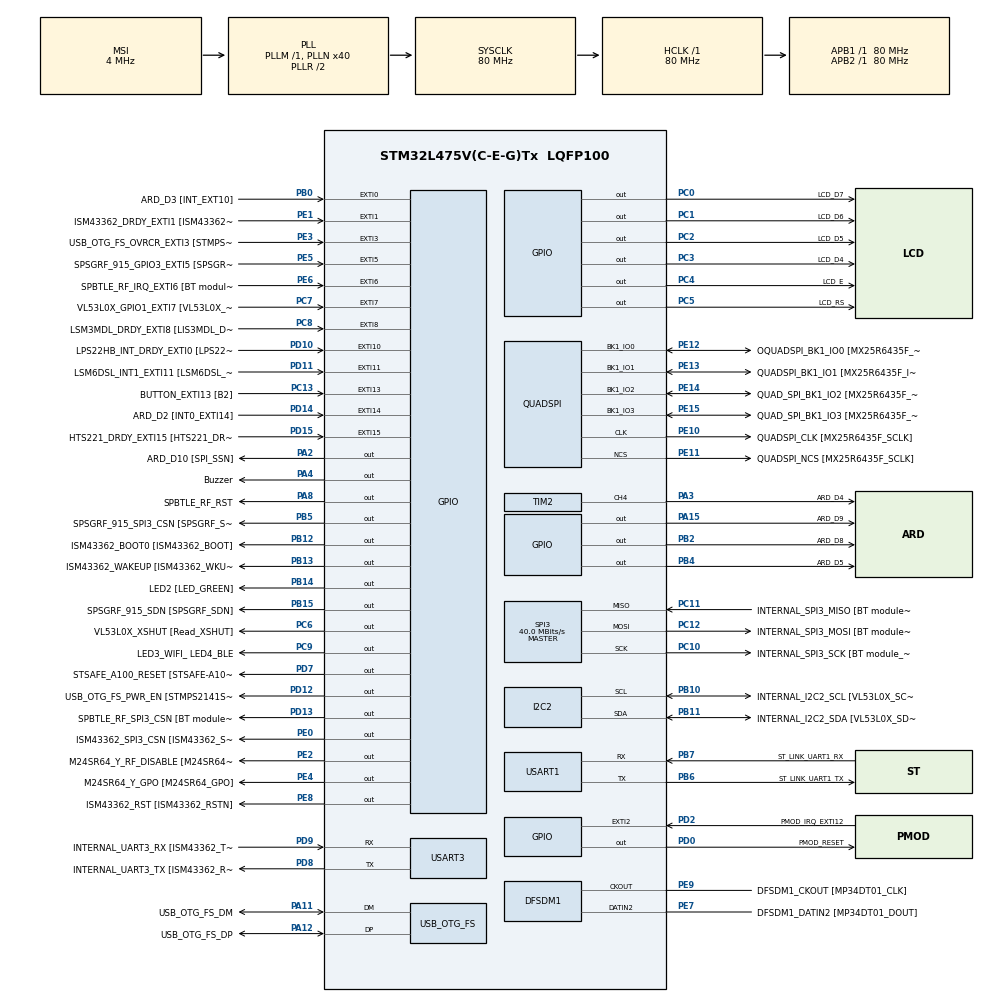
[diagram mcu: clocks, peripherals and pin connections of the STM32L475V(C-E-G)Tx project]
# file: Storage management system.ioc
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PD12.GPIO_Label=USB_OTG_FS_PWR_EN [STMPS2141STR_EN]
SPI3.Direction=SPI_DIRECTION_2LINES
SPI3.VirtualType=VM_MASTER
QUADSPI.ClockPrescaler=2
PB10.Mode=I2C
PC12.Signal=SPI3_MOSI
PB14.GPIO_Label=LED2 [LED_GREEN]
PC6.GPIO_Label=VL53L0X_XSHUT [Read_XSHUT]
PA6.GPIO_Label=ARD_D12 [SPI1_MISO]
PB6.GPIO_Label=ST_LINK_UART1_TX
PA15\ (JTDI).Signal=GPIO_Output
PB13.Signal=GPIO_Output
PD6.GPIO_Label=PMOD_UART2_RX
PE6.GPIO_Label=SPBTLE_RF_IRQ_EXTI6 [BT module_SPI_IRQ]
RCC.SYSCLKSource=RCC_SYSCLKSOURCE_PLLCLK
SH.ADCx_IN16.0=ADC1_IN16
USART3.VirtualMode-Asynchronous=VM_ASYNC
PA14\ (JTCK-SWCLK).Signal=SYS_JTCK-SWCLK
PD4.Signal=USART2_RTS
RCC.APB2TimFreq_Value=80000000
PB6.Signal=USART1_TX
PC7.Signal=GPXTI7
PB6.Mode=Asynchronous
PC3.Signal=GPIO_Output
PD0.Signal=GPIO_Output
PD8.Signal=USART3_TX
PE5.Signal=GPXTI5
PE1.Signal=GPXTI1
QUADSPI.FlashSize=23
NVIC.EXTI15_10_IRQn=true\:5\:0\:false\:false\:true\:true\:true\:true
PB2.Signal=GPIO_Output
PD1.GPIO_Label=PMOD_SPI2_SCK
PB12.GPIO_Label=ISM43362_BOOT0 [ISM43362_BOOT]
PC4.GPIO_Label=LCD_E
PE9.Signal=S_CKOUTDFSDM1
PB1.GPIO_Label=ARD_D6 [ADC1_IN6]
PE4.GPIO_Label=M24SR64_Y_GPO [M24SR64_GPO]
PE2.Signal=GPIO_Output
PA8.Signal=GPIO_Output
PE13.Mode=Single Bank
VP_FREERTOS_VS_CMSIS_V1.Mode=CMSIS_V1
PE10.Signal=QUADSPI_CLK
PA0.Signal=UART4_TX
Mcu.Package=LQFP100
PB9.Signal=I2C1_SDA
PB1.Signal=ADCx_IN16
NVIC.TimeBase=TIM1_TRG_COM_TIM17_IRQn
SPI3.Mode=SPI_MODE_MASTER
PD12.Signal=GPIO_Output
NVIC.TimeBaseIP=TIM17
PA10.Signal=USB_OTG_FS_ID
PE12.GPIO_Label=OQUADSPI_BK1_IO0 [MX25R6435F_IO0]
PC11.Mode=Full_Duplex_Master
RCC.APB1TimFreq_Value=80000000
PA13\ (JTMS-SWDIO).Signal=SYS_JTMS-SWDIO
PE10.GPIO_Label=QUADSPI_CLK [MX25R6435F_SCLK]
PH0-OSC_IN\ (PH0).Mode=HSE-External-Oscillator
PA4.GPIO_Label=Buzzer
PD15.Signal=GPXTI15
PE12.Mode=Single Bank
FREERTOS.Tasks01=Temp_monitor,0,128,StartTemp_monitor,Default,NULL,Dynamic,NULL,NULL;Hum_monitor,0,128,StartHum_monitor,Default,NULL,Dynamic,NULL,NULL;LCD_temp,-2,128,StartLCD_temp,Default,NULL,Dynamic,NULL,NULL;LCD_hum,-2,128,StartLCD_hum,Default,NULL,Dynamic,NULL,NULL;Servo_manager,2,128,StartServo_manager,Default,NULL,Dynamic,NULL,NULL;ProblemDetector,2,128,StartProblemDetector,Default,NULL,Dynamic,NULL,NULL;Buzzer_manager,1,128,StartBuzzer_manager,Default,NULL,Dynamic,NULL,NULL;LCD_TempProblem,0,128,StartLCD_TempProblem,Default,NULL,Dynamic,NULL,NULL;LCD_HumProblem,0,128,StartLCD_HumProblem,Default,NULL,Dynamic,NULL,NULL;LED_manager,1,128,StartLED_manager,Default,NULL,Dynamic,NULL,NULL;Button_manager,2,128,StartButton_manager,Default,NULL,Dynamic,NULL,NULL;LCD_TotAllarm,0,128,StartLCD_TotAllarm,Default,NULL,Dynamic,NULL,NULL;Buzzer_sound,1,128,StartBuzzer_sound,Default,NULL,Dynamic,NULL,NULL
PD9.GPIO_Label=INTERNAL_UART3_RX [ISM43362_TX]
VP_SYS_VS_tim17.Mode=TIM17
PA9.GPIO_Label=USB_OTG_FS_VBUS [STMPS2141STR_OUT]
PC13.Signal=GPXTI13
FREERTOS.INCLUDE_vTaskDelayUntil=0
PD3.Signal=USART2_CTS
PC6.Signal=GPIO_Output
PE10.Mode=Single Bank
PC2.Signal=GPIO_Output
PB11.GPIO_Label=INTERNAL_I2C2_SDA [VL53L0X_SDA]
PD7.Signal=GPIO_Output
PD1.Signal=SPI2_SCK
PA11.GPIO_Label=USB_OTG_FS_DM
PC0.Signal=GPIO_Output
PD10.Signal=GPXTI10
PB8.GPIO_Label=ARD_D15 [I2C1_SCL]
PA8.GPIO_Label=SPBTLE_RF_RST
PB11.Mode=I2C
PE8.GPIO_Label=ISM43362_RST [ISM43362_RSTN]
PA9.Signal=USB_OTG_FS_VBUS
PE9.GPIO_Label=DFSDM1_CKOUT [MP34DT01_CLK]
PD8.Mode=Asynchronous
PB10.Signal=I2C2_SCL
PB14.Signal=GPIO_Output
PA5.Signal=SPI1_SCK
PC12.Mode=Full_Duplex_Master
PE1.GPIO_Label=ISM43362_DRDY_EXTI1 [ISM43362_DATARDY]
PE14.Signal=QUADSPI_BK1_IO2
PE15.Signal=QUADSPI_BK1_IO3
PB15.GPIO_Label=SPSGRF_915_SDN [SPSGRF_SDN]
PE8.Signal=GPIO_Output
PA1.GPIO_Label=ARD_D0 [UART4_RX]
QUADSPI.FifoThreshold=4
PC7.GPIO_Label=VL53L0X_GPIO1_EXTI7 [VL53L0X_GPIO1]
PA13\ (JTMS-SWDIO).Mode=Serial_Wire
PA4.Signal=GPIO_Output
PB5.Signal=GPIO_Output
PE13.GPIO_Label=QUADSPI_BK1_IO1 [MX25R6435F_IO1]
FREERTOS.configUSE_COUNTING_SEMAPHORES=0
PA5.GPIO_Label=ARD_D13 [SPI1_SCK]
PD11.Signal=GPXTI11
PE5.GPIO_Label=SPSGRF_915_GPIO3_EXTI5 [SPSGRF_GPIO_3]
PC12.GPIO_Label=INTERNAL_SPI3_MOSI [BT module_SPI_MOSI] [ISM43362_MOSI]
PA11.Signal=USB_OTG_FS_DM
ProjectManager.HeapSize=0x200
FREERTOS.Timers01=myTimerLed1,CallbackLed1,osTimerPeriodic,Default,NULL,Dynamic,NULL;myTimerLed2,CallbackLed2,osTimerPeriodic,Default,NULL,Dynamic,NULL
FREERTOS.Mutexes01=myMutex_temp,Dynamic,NULL;myMutex_hum,Dynamic,NULL;myMutex_LCD,Dynamic,NULL;myMutexEmergency,Dynamic,NULL
NVIC.PriorityGroup=NVIC_PRIORITYGROUP_4
PE3.Signal=GPXTI3
PC3.GPIO_Label=LCD_D4
PB4\ (NJTRST).GPIO_Label=ARD_D5
PD2.Signal=GPXTI2
PB0.Signal=GPXTI0
PC1.Signal=GPIO_Output
PD2.GPIO_Label=PMOD_IRQ_EXTI12
PE15.Mode=Single Bank
Mcu.Family=STM32L4
RCC.CortexFreq_Value=80000000
PH0-OSC_IN\ (PH0).Signal=RCC_OSC_IN
PE11.GPIO_Label=QUADSPI_NCS [MX25R6435F_SCLK]
PC10.Signal=SPI3_SCK
PA0.GPIO_Label=ARD_D1 [UART4_TX]
PC0.GPIO_Label=LCD_D7
PD0.GPIO_Label=PMOD_RESET
PA11.Mode=Device_Only
PB0.GPIO_Label=ARD_D3 [INT_EXT10]
PC13.GPIO_Label=BUTTON_EXTI13 [B2]
PB13.GPIO_Label=ISM43362_WAKEUP [ISM43362_WKUP]
PB11.Signal=I2C2_SDA
PB15.Signal=GPIO_Output
PD9.Mode=Asynchronous
ProjectManager.StackSize=0x400
PB3\ (JTDO-TRACESWO).Signal=SYS_JTDO-SWO
PD13.Signal=GPIO_Output
PA12.Signal=USB_OTG_FS_DP
PE11.Mode=Single Bank
PD11.GPIO_Label=LSM6DSL_INT1_EXTI11 [LSM6DSL_INT1]
RCC.HCLKFreq_Value=80000000
PB5.PinState=GPIO_PIN_SET
RCC.AHBFreq_Value=80000000
PH1-OSC_OUT\ (PH1).Mode=HSE-External-Oscillator
RCC.HSE_VALUE=8000000
FREERTOS.configUSE_TIMERS=1
NVIC.TIM1_TRG_COM_TIM17_IRQn=true\:0\:0\:false\:false\:true\:false\:false\:true
PE13.Signal=QUADSPI_BK1_IO1
PC11.GPIO_Label=INTERNAL_SPI3_MISO [BT module_SPI_MISO] [ISM43362_MISO]
PA10.GPIO_Label=USB_OTG_FS_ID
PB7.Signal=USART1_RX
PE4.Signal=GPIO_Output
QUADSPI.SampleShifting=QSPI_SAMPLE_SHIFTING_HALFCYCLE
FREERTOS.configTOTAL_HEAP_SIZE=9000
PD7.GPIO_Label=STSAFE_A100_RESET [STSAFE-A100_RESET]
PB7.GPIO_Label=ST_LINK_UART1_RX
PD13.GPIO_Label=SPBTLE_RF_SPI3_CSN [BT module_SPI_CS]
PA6.Signal=SPI1_MISO
PD5.GPIO_Label=PMOD_UART2_TX
PA2.GPIO_Label=ARD_D10 [SPI_SSN]
USB_OTG_FS.VirtualMode=Device_Only
PE0.GPIO_Label=ISM43362_SPI3_CSN [ISM43362_SSN]
PB5.GPIO_Label=SPSGRF_915_SPI3_CSN [SPSGRF_SPI_CS]
PC5.Signal=GPIO_Output
PD3.GPIO_Label=PMOD_UART2_CTS
PE7.Signal=S_DATAIN2DFSDM1
PD6.Signal=USART2_RX
PE2.GPIO_Label=M24SR64_Y_RF_DISABLE [M24SR64_RFDIS]
PC2.GPIO_Label=LCD_D5
RCC.PLLSAI1N=24
PA3.Signal=S_TIM2_CH4
RCC.MSI_VALUE=4000000
PA14\ (JTCK-SWCLK).Mode=Serial_Wire
TIM2.Channel-PWM\ Generation4\ CH4=TIM_CHANNEL_4
PD15.GPIO_Label=HTS221_DRDY_EXTI15 [HTS221_DRDY]
PB9.GPIO_Label=ARD_D14 [I2C1_SDA]
PC10.GPIO_Label=INTERNAL_SPI3_SCK [BT module_SPI_SCLK] [ISM43362_SCK]
PC9.GPIO_Label=LED3_WIFI_ LED4_BLE
PC11.Signal=SPI3_MISO
PC8.Signal=GPXTI8
PC4.Signal=GPIO_Output
PC10.Mode=Full_Duplex_Master
SH.S_DATAIN2DFSDM1.0=DFSDM1_DATIN2,PDM_SPI_Input_from_ch12_and_Internal_Clock
PE14.GPIO_Label=QUAD_SPI_BK1_IO2 [MX25R6435F_IO2]
PC15-OSC32_OUT\ (PC15).Signal=RCC_OSC32_OUT
PD9.Signal=USART3_RX
PD5.Signal=USART2_TX
PA14\ (JTCK-SWCLK).GPIO_Label=SYS_JTCK_SWCLK
PB3\ (JTDO-TRACESWO).GPIO_Label=SYS_JTD0_SWO
PA12.GPIO_Label=USB_OTG_FS_DP
PH1-OSC_OUT\ (PH1).Signal=RCC_OSC_OUT
PD8.GPIO_Label=INTERNAL_UART3_TX [ISM43362_RX]
PC8.GPIO_Label=LSM3MDL_DRDY_EXTI8 [LIS3MDL_DRDY]
USART1.VirtualMode-Asynchronous=VM_ASYNC
PE0.PinState=GPIO_PIN_SET
PE15.GPIO_Label=QUAD_SPI_BK1_IO3 [MX25R6435F_IO3]
ProjectManager.TargetToolchain=STM32CubeIDE
PB10.GPIO_Label=INTERNAL_I2C2_SCL [VL53L0X_SCL]
RCC.USBFreq_Value=48000000
PD10.GPIO_Label=LPS22HB_INT_DRDY_EXTI0 [LPS22HB_INT_DRDY] 
PE11.Signal=QUADSPI_NCS
RCC.LSE_VALUE=32768
PA1.Signal=UART4_RX
board=B-L475E-IOT01A2
RCC.VCOOutputFreq_Value=160000000
RCC.APB2Freq_Value=80000000
SPI3.CalculateBaudRate=40.0 MBits/s
PA13\ (JTMS-SWDIO).GPIO_Label=SYS_JTMS_SWDIO
PD4.GPIO_Label=PMOD_UART2_RTS
PE14.Mode=Single Bank
SH.S_CKOUTDFSDM1.0=DFSDM1_CKOUT,CKOUT
SH.S_CKOUTDFSDM1.1=DFSDM1_CKOUT,PDM_SPI_Input_from_ch12_and_Internal_Clock
RCC.ADCFreq_Value=48000000
PC1.GPIO_Label=LCD_D6
PD14.GPIO_Label=ARD_D2 [INT0_EXTI14]
PE6.Signal=GPXTI6
PA15\ (JTDI).GPIO_Label=ARD_D9
Mcu.Name=STM32L475V(C-E-G)Tx
PE0.Signal=GPIO_Output
PE7.GPIO_Label=DFSDM1_DATIN2 [MP34DT01_DOUT]
PE12.Signal=QUADSPI_BK1_IO0
PA2.Signal=GPIO_Output
PD14.Signal=GPXTI14
RCC.SYSCLKFreq_VALUE=80000000
PA7.GPIO_Label=ARD_D11 [SPI1_MOSI]
PA12.Mode=Device_Only
PC13.GPIO_ModeDefaultEXTI=GPIO_MODE_IT_FALLING
PC5.GPIO_Label=LCD_RS
PC14-OSC32_IN\ (PC14).Signal=RCC_OSC32_IN
PB7.Mode=Asynchronous
NVIC.EXTI9_5_IRQn=true\:5\:0\:false\:false\:true\:true\:true\:true
PB2.GPIO_Label=ARD_D8
SH.S_TIM2_CH4.0=TIM2_CH4,PWM Generation4 CH4
RCC.HSI_VALUE=16000000
RCC.PLLN=40
PB8.Signal=I2C1_SCL
PE3.GPIO_Label=USB_OTG_FS_OVRCR_EXTI3 [STMPS2141STR_FAULT]
PC9.Signal=GPIO_Output
PD13.PinState=GPIO_PIN_SET
RCC.APB1Freq_Value=80000000
PB12.Signal=GPIO_Output
PA3.GPIO_Label=ARD_D4
PA7.Signal=SPI1_MOSI
PB4\ (NJTRST).Signal=GPIO_Output

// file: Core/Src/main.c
/* USER CODE BEGIN Header */
/**
 ******************************************************************************
 * @file           : main.c
 * @brief          : Main program body
 ******************************************************************************
 * @attention
 *
 * <h2><center>&copy; Copyright (c) 2021 STMicroelectronics.
 * All rights reserved.</center></h2>
 *
 * This software component is licensed by ST under BSD 3-Clause license,
 * the "License"; You may not use this file except in compliance with the
 * License. You may obtain a copy of the License at:
 *                        opensource.org/licenses/BSD-3-Clause
 *
 ******************************************************************************
 */
/* USER CODE END Header */
#include "main.h"
#include "cmsis_os.h"

/* USER CODE BEGIN Includes */
#include "stm32l475e_iot01.h"
#include "stm32l475e_iot01_tsensor.h"
#include "stm32l475e_iot01_hsensor.h"
#include "LiquidCrystal.h"
#include <stdio.h>
#include <stdbool.h>
#include <math.h>

/* USER CODE END Includes */

/* USER CODE BEGIN PD */

//Possible values: NORMAL_MODE or DEMO_MODE to perform cyclically all the emergencies
#define NORMAL_MODE

//Codes for the different types of alarm
#define ALL_TOT 6
#define ALL_TEMP 7
#define ALL_HUM 8
#define NO_ALL 9

//Hight tresh to start emergencies and low to stop in hysteresis fashion to avoid
// multiple bouncing in the moment where the emergency stop
#define HUM_HIGH_TRESH 75
#define HUM_LOW_TRESH 73
#define TEMP_HIGH_TRESH 30
#define TEMP_LOW_TRESH 29

/* USER CODE END PD */

DFSDM_Channel_HandleTypeDef hdfsdm1_channel1;

I2C_HandleTypeDef hi2c2;

QSPI_HandleTypeDef hqspi;

SPI_HandleTypeDef hspi3;

TIM_HandleTypeDef htim2;

UART_HandleTypeDef huart1;
UART_HandleTypeDef huart3;

PCD_HandleTypeDef hpcd_USB_OTG_FS;

osThreadId Temp_monitorHandle;
osThreadId Hum_monitorHandle;
osThreadId LCD_tempHandle;
osThreadId LCD_humHandle;
osThreadId Servo_managerHandle;
osThreadId ProblemDetectorHandle;
osThreadId Buzzer_managerHandle;
osThreadId LCD_TempProblemHandle;
osThreadId LCD_HumProblemHandle;
osThreadId LED_managerHandle;
osThreadId Button_managerHandle;
osThreadId LCD_TotAllarmHandle;
osThreadId Buzzer_soundHandle;
osTimerId myTimerLed1Handle;
osTimerId myTimerLed2Handle;
osMutexId myMutex_tempHandle;
osMutexId myMutex_humHandle;
osMutexId myMutex_LCDHandle;
osMutexId myMutexEmergencyHandle;
/* USER CODE BEGIN PV */
float temp_value = 0; // global variable to store temperature value
float hum_value = 0; // global variable to store humidity value
int emergency_code = NO_ALL; // code that determines the emergency
bool stop_allarmi = false;

/* USER CODE END PV */

void SystemClock_Config(void);
static void MX_GPIO_Init(void);
static void MX_DFSDM1_Init(void);
static void MX_I2C2_Init(void);
static void MX_QUADSPI_Init(void);
static void MX_SPI3_Init(void);
static void MX_USART1_UART_Init(void);
static void MX_USART3_UART_Init(void);
static void MX_USB_OTG_FS_PCD_Init(void);
static void MX_TIM2_Init(void);
void StartTemp_monitor(void const * argument);
void StartHum_monitor(void const * argument);
void StartLCD_temp(void const * argument);
void StartLCD_hum(void const * argument);
void StartServo_manager(void const * argument);
void StartProblemDetector(void const * argument);
void StartBuzzer_manager(void const * argument);
void StartLCD_TempProblem(void const * argument);
void StartLCD_HumProblem(void const * argument);
void StartLED_manager(void const * argument);
void StartButton_manager(void const * argument);
void StartLCD_TotAllarm(void const * argument);
void StartBuzzer_sound(void const * argument);
void CallbackLed1(void const * argument);
void CallbackLed2(void const * argument);

int main(void)
{

  /* MCU Configuration--------------------------------------------------------*/

  /* Reset of all peripherals, Initializes the Flash interface and the Systick. */
  HAL_Init();

  /* Configure the system clock */
  SystemClock_Config();

  /* Initialize all configured peripherals */
  MX_GPIO_Init();
  MX_DFSDM1_Init();
  MX_I2C2_Init();
  MX_QUADSPI_Init();
  MX_SPI3_Init();
  MX_USART1_UART_Init();
  MX_USART3_UART_Init();
  MX_USB_OTG_FS_PCD_Init();
  MX_TIM2_Init();
  /* USER CODE BEGIN 2 */

  	//Initialization
	HAL_TIM_PWM_Start(&htim2, TIM_CHANNEL_4); //Timer for Servo PWN
	BSP_TSENSOR_Init(); //Temperature sensor initialization
	BSP_HSENSOR_Init(); //Temperature sensor initialization
	LiquidCrystal(GPIOC, LCD_RS_Pin, LCD_E_Pin, LCD_E_Pin, LCD_D4_Pin, LCD_D5_Pin, LCD_D6_Pin, LCD_D7_Pin); //Initialize the LCD specifying its pins

	//Write a loading phrase on the LCD
	clear();
	setCursor(0, 0);
	print("INIZIALIZZAZIONE");
	setCursor(0, 1);
	print("IN CORSO...");

  /* USER CODE END 2 */

  /* Create the mutex(es) */
  /* definition and creation of myMutex_temp */
  osMutexDef(myMutex_temp);
  myMutex_tempHandle = osMutexCreate(osMutex(myMutex_temp));

  /* definition and creation of myMutex_hum */
  osMutexDef(myMutex_hum);
  myMutex_humHandle = osMutexCreate(osMutex(myMutex_hum));

  /* definition and creation of myMutex_LCD */
  osMutexDef(myMutex_LCD);
  myMutex_LCDHandle = osMutexCreate(osMutex(myMutex_LCD));

  /* definition and creation of myMutexEmergency */
  osMutexDef(myMutexEmergency);
  myMutexEmergencyHandle = osMutexCreate(osMutex(myMutexEmergency));

  /* Create the timer(s) */
  /* definition and creation of myTimerLed1 */
  osTimerDef(myTimerLed1, CallbackLed1);
  myTimerLed1Handle = osTimerCreate(osTimer(myTimerLed1), osTimerPeriodic, NULL);

  /* definition and creation of myTimerLed2 */
  osTimerDef(myTimerLed2, CallbackLed2);
  myTimerLed2Handle = osTimerCreate(osTimer(myTimerLed2), osTimerPeriodic, NULL);

  /* Create the thread(s) */
  /* definition and creation of Temp_monitor */
  osThreadDef(Temp_monitor, StartTemp_monitor, osPriorityNormal, 0, 128);
  Temp_monitorHandle = osThreadCreate(osThread(Temp_monitor), NULL);

  /* definition and creation of Hum_monitor */
  osThreadDef(Hum_monitor, StartHum_monitor, osPriorityNormal, 0, 128);
  Hum_monitorHandle = osThreadCreate(osThread(Hum_monitor), NULL);

  /* definition and creation of LCD_temp */
  osThreadDef(LCD_temp, StartLCD_temp, osPriorityLow, 0, 128);
  LCD_tempHandle = osThreadCreate(osThread(LCD_temp), NULL);

  /* definition and creation of LCD_hum */
  osThreadDef(LCD_hum, StartLCD_hum, osPriorityLow, 0, 128);
  LCD_humHandle = osThreadCreate(osThread(LCD_hum), NULL);

  /* definition and creation of Servo_manager */
  osThreadDef(Servo_manager, StartServo_manager, osPriorityHigh, 0, 128);
  Servo_managerHandle = osThreadCreate(osThread(Servo_manager), NULL);

  /* definition and creation of ProblemDetector */
  osThreadDef(ProblemDetector, StartProblemDetector, osPriorityHigh, 0, 128);
  ProblemDetectorHandle = osThreadCreate(osThread(ProblemDetector), NULL);

  /* definition and creation of Buzzer_manager */
  osThreadDef(Buzzer_manager, StartBuzzer_manager, osPriorityAboveNormal, 0, 128);
  Buzzer_managerHandle = osThreadCreate(osThread(Buzzer_manager), NULL);

  /* definition and creation of LCD_TempProblem */
  osThreadDef(LCD_TempProblem, StartLCD_TempProblem, osPriorityNormal, 0, 128);
  LCD_TempProblemHandle = osThreadCreate(osThread(LCD_TempProblem), NULL);

  /* definition and creation of LCD_HumProblem */
  osThreadDef(LCD_HumProblem, StartLCD_HumProblem, osPriorityNormal, 0, 128);
  LCD_HumProblemHandle = osThreadCreate(osThread(LCD_HumProblem), NULL);

  /* definition and creation of LED_manager */
  osThreadDef(LED_manager, StartLED_manager, osPriorityAboveNormal, 0, 128);
  LED_managerHandle = osThreadCreate(osThread(LED_manager), NULL);

  /* definition and creation of Button_manager */
  osThreadDef(Button_manager, StartButton_manager, osPriorityHigh, 0, 128);
  Button_managerHandle = osThreadCreate(osThread(Button_manager), NULL);

  /* definition and creation of LCD_TotAllarm */
  osThreadDef(LCD_TotAllarm, StartLCD_TotAllarm, osPriorityNormal, 0, 128);
  LCD_TotAllarmHandle = osThreadCreate(osThread(LCD_TotAllarm), NULL);

  /* definition and creation of Buzzer_sound */
  osThreadDef(Buzzer_sound, StartBuzzer_sound, osPriorityAboveNormal, 0, 128);
  Buzzer_soundHandle = osThreadCreate(osThread(Buzzer_sound), NULL);

  /* Start scheduler */
  osKernelStart();

  /* We should never get here as control is now taken by the scheduler */
  /* Infinite loop */
	while (1)
	{

	}
}

void SystemClock_Config(void)
{
  RCC_OscInitTypeDef RCC_OscInitStruct = {0};
  RCC_ClkInitTypeDef RCC_ClkInitStruct = {0};
  RCC_PeriphCLKInitTypeDef PeriphClkInit = {0};

  /** Initializes the RCC Oscillators according to the specified parameters
  * in the RCC_OscInitTypeDef structure.
  */
  RCC_OscInitStruct.OscillatorType = RCC_OSCILLATORTYPE_MSI;
  RCC_OscInitStruct.MSIState = RCC_MSI_ON;
  RCC_OscInitStruct.MSICalibrationValue = 0;
  RCC_OscInitStruct.MSIClockRange = RCC_MSIRANGE_6;
  RCC_OscInitStruct.PLL.PLLState = RCC_PLL_ON;
  RCC_OscInitStruct.PLL.PLLSource = RCC_PLLSOURCE_MSI;
  RCC_OscInitStruct.PLL.PLLM = 1;
  RCC_OscInitStruct.PLL.PLLN = 40;
  RCC_OscInitStruct.PLL.PLLP = RCC_PLLP_DIV7;
  RCC_OscInitStruct.PLL.PLLQ = RCC_PLLQ_DIV2;
  RCC_OscInitStruct.PLL.PLLR = RCC_PLLR_DIV2;
  if (HAL_RCC_OscConfig(&RCC_OscInitStruct) != HAL_OK)
  {
    Error_Handler();
  }
  /** Initializes the CPU, AHB and APB buses clocks
  */
  RCC_ClkInitStruct.ClockType = RCC_CLOCKTYPE_HCLK|RCC_CLOCKTYPE_SYSCLK
                              |RCC_CLOCKTYPE_PCLK1|RCC_CLOCKTYPE_PCLK2;
  RCC_ClkInitStruct.SYSCLKSource = RCC_SYSCLKSOURCE_PLLCLK;
  RCC_ClkInitStruct.AHBCLKDivider = RCC_SYSCLK_DIV1;
  RCC_ClkInitStruct.APB1CLKDivider = RCC_HCLK_DIV1;
  RCC_ClkInitStruct.APB2CLKDivider = RCC_HCLK_DIV1;

  if (HAL_RCC_ClockConfig(&RCC_ClkInitStruct, FLASH_LATENCY_4) != HAL_OK)
  {
    Error_Handler();
  }
  PeriphClkInit.PeriphClockSelection = RCC_PERIPHCLK_USART1|RCC_PERIPHCLK_USART3
                              |RCC_PERIPHCLK_I2C2|RCC_PERIPHCLK_DFSDM1
                              |RCC_PERIPHCLK_USB;
  PeriphClkInit.Usart1ClockSelection = RCC_USART1CLKSOURCE_PCLK2;
  PeriphClkInit.Usart3ClockSelection = RCC_USART3CLKSOURCE_PCLK1;
  PeriphClkInit.I2c2ClockSelection = RCC_I2C2CLKSOURCE_PCLK1;
  PeriphClkInit.Dfsdm1ClockSelection = RCC_DFSDM1CLKSOURCE_PCLK;
  PeriphClkInit.UsbClockSelection = RCC_USBCLKSOURCE_PLLSAI1;
  PeriphClkInit.PLLSAI1.PLLSAI1Source = RCC_PLLSOURCE_MSI;
  PeriphClkInit.PLLSAI1.PLLSAI1M = 1;
  PeriphClkInit.PLLSAI1.PLLSAI1N = 24;
  PeriphClkInit.PLLSAI1.PLLSAI1P = RCC_PLLP_DIV7;
  PeriphClkInit.PLLSAI1.PLLSAI1Q = RCC_PLLQ_DIV2;
  PeriphClkInit.PLLSAI1.PLLSAI1R = RCC_PLLR_DIV2;
  PeriphClkInit.PLLSAI1.PLLSAI1ClockOut = RCC_PLLSAI1_48M2CLK;
  if (HAL_RCCEx_PeriphCLKConfig(&PeriphClkInit) != HAL_OK)
  {
    Error_Handler();
  }
  /** Configure the main internal regulator output voltage
  */
  if (HAL_PWREx_ControlVoltageScaling(PWR_REGULATOR_VOLTAGE_SCALE1) != HAL_OK)
  {
    Error_Handler();
  }
}

static void MX_DFSDM1_Init(void)
{

  hdfsdm1_channel1.Instance = DFSDM1_Channel1;
  hdfsdm1_channel1.Init.OutputClock.Activation = ENABLE;
  hdfsdm1_channel1.Init.OutputClock.Selection = DFSDM_CHANNEL_OUTPUT_CLOCK_SYSTEM;
  hdfsdm1_channel1.Init.OutputClock.Divider = 2;
  hdfsdm1_channel1.Init.Input.Multiplexer = DFSDM_CHANNEL_EXTERNAL_INPUTS;
  hdfsdm1_channel1.Init.Input.DataPacking = DFSDM_CHANNEL_STANDARD_MODE;
  hdfsdm1_channel1.Init.Input.Pins = DFSDM_CHANNEL_FOLLOWING_CHANNEL_PINS;
  hdfsdm1_channel1.Init.SerialInterface.Type = DFSDM_CHANNEL_SPI_RISING;
  hdfsdm1_channel1.Init.SerialInterface.SpiClock = DFSDM_CHANNEL_SPI_CLOCK_INTERNAL;
  hdfsdm1_channel1.Init.Awd.FilterOrder = DFSDM_CHANNEL_FASTSINC_ORDER;
  hdfsdm1_channel1.Init.Awd.Oversampling = 1;
  hdfsdm1_channel1.Init.Offset = 0;
  hdfsdm1_channel1.Init.RightBitShift = 0x00;
  if (HAL_DFSDM_ChannelInit(&hdfsdm1_channel1) != HAL_OK)
  {
    Error_Handler();
  }

}

static void MX_I2C2_Init(void)
{

  hi2c2.Instance = I2C2;
  hi2c2.Init.Timing = 0x00000E14;
  hi2c2.Init.OwnAddress1 = 0;
  hi2c2.Init.AddressingMode = I2C_ADDRESSINGMODE_7BIT;
  hi2c2.Init.DualAddressMode = I2C_DUALADDRESS_DISABLE;
  hi2c2.Init.OwnAddress2 = 0;
  hi2c2.Init.OwnAddress2Masks = I2C_OA2_NOMASK;
  hi2c2.Init.GeneralCallMode = I2C_GENERALCALL_DISABLE;
  hi2c2.Init.NoStretchMode = I2C_NOSTRETCH_DISABLE;
  if (HAL_I2C_Init(&hi2c2) != HAL_OK)
  {
    Error_Handler();
  }
  /** Configure Analogue filter
  */
  if (HAL_I2CEx_ConfigAnalogFilter(&hi2c2, I2C_ANALOGFILTER_ENABLE) != HAL_OK)
  {
    Error_Handler();
  }
  /** Configure Digital filter
  */
  if (HAL_I2CEx_ConfigDigitalFilter(&hi2c2, 0) != HAL_OK)
  {
    Error_Handler();
  }

}

static void MX_QUADSPI_Init(void)
{

  /* QUADSPI parameter configuration*/
  hqspi.Instance = QUADSPI;
  hqspi.Init.ClockPrescaler = 2;
  hqspi.Init.FifoThreshold = 4;
  hqspi.Init.SampleShifting = QSPI_SAMPLE_SHIFTING_HALFCYCLE;
  hqspi.Init.FlashSize = 23;
  hqspi.Init.ChipSelectHighTime = QSPI_CS_HIGH_TIME_1_CYCLE;
  hqspi.Init.ClockMode = QSPI_CLOCK_MODE_0;
  if (HAL_QSPI_Init(&hqspi) != HAL_OK)
  {
    Error_Handler();
  }

}

static void MX_SPI3_Init(void)
{

  /* SPI3 parameter configuration*/
  hspi3.Instance = SPI3;
  hspi3.Init.Mode = SPI_MODE_MASTER;
  hspi3.Init.Direction = SPI_DIRECTION_2LINES;
  hspi3.Init.DataSize = SPI_DATASIZE_4BIT;
  hspi3.Init.CLKPolarity = SPI_POLARITY_LOW;
  hspi3.Init.CLKPhase = SPI_PHASE_1EDGE;
  hspi3.Init.NSS = SPI_NSS_SOFT;
  hspi3.Init.BaudRatePrescaler = SPI_BAUDRATEPRESCALER_2;
  hspi3.Init.FirstBit = SPI_FIRSTBIT_MSB;
  hspi3.Init.TIMode = SPI_TIMODE_DISABLE;
  hspi3.Init.CRCCalculation = SPI_CRCCALCULATION_DISABLE;
  hspi3.Init.CRCPolynomial = 7;
  hspi3.Init.CRCLength = SPI_CRC_LENGTH_DATASIZE;
  hspi3.Init.NSSPMode = SPI_NSS_PULSE_ENABLE;
  if (HAL_SPI_Init(&hspi3) != HAL_OK)
  {
    Error_Handler();
  }

}

static void MX_TIM2_Init(void)
{

  TIM_MasterConfigTypeDef sMasterConfig = {0};
  TIM_OC_InitTypeDef sConfigOC = {0};

  htim2.Instance = TIM2;
  htim2.Init.Prescaler = 0;
  htim2.Init.CounterMode = TIM_COUNTERMODE_UP;
  htim2.Init.Period = 4294967295;
  htim2.Init.ClockDivision = TIM_CLOCKDIVISION_DIV1;
  htim2.Init.AutoReloadPreload = TIM_AUTORELOAD_PRELOAD_DISABLE;
  if (HAL_TIM_PWM_Init(&htim2) != HAL_OK)
  {
    Error_Handler();
  }
  sMasterConfig.MasterOutputTrigger = TIM_TRGO_RESET;
  sMasterConfig.MasterSlaveMode = TIM_MASTERSLAVEMODE_DISABLE;
  if (HAL_TIMEx_MasterConfigSynchronization(&htim2, &sMasterConfig) != HAL_OK)
  {
    Error_Handler();
  }
  sConfigOC.OCMode = TIM_OCMODE_PWM1;
  sConfigOC.Pulse = 0;
  sConfigOC.OCPolarity = TIM_OCPOLARITY_HIGH;
  sConfigOC.OCFastMode = TIM_OCFAST_DISABLE;
  if (HAL_TIM_PWM_ConfigChannel(&htim2, &sConfigOC, TIM_CHANNEL_4) != HAL_OK)
  {
    Error_Handler();
  }
  HAL_TIM_MspPostInit(&htim2);

}

static void MX_USART1_UART_Init(void)
{

  huart1.Instance = USART1;
  huart1.Init.BaudRate = 115200;
  huart1.Init.WordLength = UART_WORDLENGTH_8B;
  huart1.Init.StopBits = UART_STOPBITS_1;
  huart1.Init.Parity = UART_PARITY_NONE;
  huart1.Init.Mode = UART_MODE_TX_RX;
  huart1.Init.HwFlowCtl = UART_HWCONTROL_NONE;
  huart1.Init.OverSampling = UART_OVERSAMPLING_16;
  huart1.Init.OneBitSampling = UART_ONE_BIT_SAMPLE_DISABLE;
  huart1.AdvancedInit.AdvFeatureInit = UART_ADVFEATURE_NO_INIT;
  if (HAL_UART_Init(&huart1) != HAL_OK)
  {
    Error_Handler();
  }

}

static void MX_USART3_UART_Init(void)
{

  huart3.Instance = USART3;
  huart3.Init.BaudRate = 115200;
  huart3.Init.WordLength = UART_WORDLENGTH_8B;
  huart3.Init.StopBits = UART_STOPBITS_1;
  huart3.Init.Parity = UART_PARITY_NONE;
  huart3.Init.Mode = UART_MODE_TX_RX;
  huart3.Init.HwFlowCtl = UART_HWCONTROL_NONE;
  huart3.Init.OverSampling = UART_OVERSAMPLING_16;
  huart3.Init.OneBitSampling = UART_ONE_BIT_SAMPLE_DISABLE;
  huart3.AdvancedInit.AdvFeatureInit = UART_ADVFEATURE_NO_INIT;
  if (HAL_UART_Init(&huart3) != HAL_OK)
  {
    Error_Handler();
  }

}

static void MX_USB_OTG_FS_PCD_Init(void)
{

  hpcd_USB_OTG_FS.Instance = USB_OTG_FS;
  hpcd_USB_OTG_FS.Init.dev_endpoints = 6;
  hpcd_USB_OTG_FS.Init.speed = PCD_SPEED_FULL;
  hpcd_USB_OTG_FS.Init.phy_itface = PCD_PHY_EMBEDDED;
  hpcd_USB_OTG_FS.Init.Sof_enable = DISABLE;
  hpcd_USB_OTG_FS.Init.low_power_enable = DISABLE;
  hpcd_USB_OTG_FS.Init.lpm_enable = DISABLE;
  hpcd_USB_OTG_FS.Init.battery_charging_enable = DISABLE;
  hpcd_USB_OTG_FS.Init.use_dedicated_ep1 = DISABLE;
  hpcd_USB_OTG_FS.Init.vbus_sensing_enable = DISABLE;
  if (HAL_PCD_Init(&hpcd_USB_OTG_FS) != HAL_OK)
  {
    Error_Handler();
  }

}

static void MX_GPIO_Init(void)
{
  GPIO_InitTypeDef GPIO_InitStruct = {0};

  /* GPIO Ports Clock Enable */
  __HAL_RCC_GPIOE_CLK_ENABLE();
  __HAL_RCC_GPIOC_CLK_ENABLE();
  __HAL_RCC_GPIOH_CLK_ENABLE();
  __HAL_RCC_GPIOA_CLK_ENABLE();
  __HAL_RCC_GPIOB_CLK_ENABLE();
  __HAL_RCC_GPIOD_CLK_ENABLE();

  /*Configure GPIO pin Output Level */
  HAL_GPIO_WritePin(GPIOE, M24SR64_Y_RF_DISABLE_Pin|M24SR64_Y_GPO_Pin|ISM43362_RST_Pin, GPIO_PIN_RESET);

  /*Configure GPIO pin Output Level */
  HAL_GPIO_WritePin(GPIOC, LCD_D7_Pin|LCD_D6_Pin|LCD_D5_Pin|LCD_D4_Pin
                          |LCD_E_Pin|LCD_RS_Pin|VL53L0X_XSHUT_Pin|LED3_WIFI__LED4_BLE_Pin, GPIO_PIN_RESET);

  /*Configure GPIO pin Output Level */
  HAL_GPIO_WritePin(GPIOA, ARD_D10_Pin|Buzzer_Pin|SPBTLE_RF_RST_Pin|ARD_D9_Pin, GPIO_PIN_RESET);

  /*Configure GPIO pin Output Level */
  HAL_GPIO_WritePin(GPIOB, ARD_D8_Pin|ISM43362_BOOT0_Pin|ISM43362_WAKEUP_Pin|LED2_Pin
                          |SPSGRF_915_SDN_Pin|ARD_D5_Pin, GPIO_PIN_RESET);

  /*Configure GPIO pin Output Level */
  HAL_GPIO_WritePin(GPIOD, USB_OTG_FS_PWR_EN_Pin|PMOD_RESET_Pin|STSAFE_A100_RESET_Pin, GPIO_PIN_RESET);

  /*Configure GPIO pin Output Level */
  HAL_GPIO_WritePin(SPBTLE_RF_SPI3_CSN_GPIO_Port, SPBTLE_RF_SPI3_CSN_Pin, GPIO_PIN_SET);

  /*Configure GPIO pin Output Level */
  HAL_GPIO_WritePin(SPSGRF_915_SPI3_CSN_GPIO_Port, SPSGRF_915_SPI3_CSN_Pin, GPIO_PIN_SET);

  /*Configure GPIO pin Output Level */
  HAL_GPIO_WritePin(ISM43362_SPI3_CSN_GPIO_Port, ISM43362_SPI3_CSN_Pin, GPIO_PIN_SET);

  /*Configure GPIO pins : M24SR64_Y_RF_DISABLE_Pin M24SR64_Y_GPO_Pin ISM43362_RST_Pin ISM43362_SPI3_CSN_Pin */
  GPIO_InitStruct.Pin = M24SR64_Y_RF_DISABLE_Pin|M24SR64_Y_GPO_Pin|ISM43362_RST_Pin|ISM43362_SPI3_CSN_Pin;
  GPIO_InitStruct.Mode = GPIO_MODE_OUTPUT_PP;
  GPIO_InitStruct.Pull = GPIO_NOPULL;
  GPIO_InitStruct.Speed = GPIO_SPEED_FREQ_LOW;
  HAL_GPIO_Init(GPIOE, &GPIO_InitStruct);

  /*Configure GPIO pins : USB_OTG_FS_OVRCR_EXTI3_Pin SPSGRF_915_GPIO3_EXTI5_Pin SPBTLE_RF_IRQ_EXTI6_Pin ISM43362_DRDY_EXTI1_Pin */
  GPIO_InitStruct.Pin = USB_OTG_FS_OVRCR_EXTI3_Pin|SPSGRF_915_GPIO3_EXTI5_Pin|SPBTLE_RF_IRQ_EXTI6_Pin|ISM43362_DRDY_EXTI1_Pin;
  GPIO_InitStruct.Mode = GPIO_MODE_IT_RISING;
  GPIO_InitStruct.Pull = GPIO_NOPULL;
  HAL_GPIO_Init(GPIOE, &GPIO_InitStruct);

  /*Configure GPIO pin : BUTTON_EXTI13_Pin */
  GPIO_InitStruct.Pin = BUTTON_EXTI13_Pin;
  GPIO_InitStruct.Mode = GPIO_MODE_IT_FALLING;
  GPIO_InitStruct.Pull = GPIO_NOPULL;
  HAL_GPIO_Init(BUTTON_EXTI13_GPIO_Port, &GPIO_InitStruct);

  /*Configure GPIO pins : LCD_D7_Pin LCD_D6_Pin LCD_D5_Pin LCD_D4_Pin
                           LCD_E_Pin LCD_RS_Pin VL53L0X_XSHUT_Pin LED3_WIFI__LED4_BLE_Pin */
  GPIO_InitStruct.Pin = LCD_D7_Pin|LCD_D6_Pin|LCD_D5_Pin|LCD_D4_Pin
                          |LCD_E_Pin|LCD_RS_Pin|VL53L0X_XSHUT_Pin|LED3_WIFI__LED4_BLE_Pin;
  GPIO_InitStruct.Mode = GPIO_MODE_OUTPUT_PP;
  GPIO_InitStruct.Pull = GPIO_NOPULL;
  GPIO_InitStruct.Speed = GPIO_SPEED_FREQ_LOW;
  HAL_GPIO_Init(GPIOC, &GPIO_InitStruct);

  /*Configure GPIO pins : ARD_D1_Pin ARD_D0_Pin */
  GPIO_InitStruct.Pin = ARD_D1_Pin|ARD_D0_Pin;
  GPIO_InitStruct.Mode = GPIO_MODE_AF_PP;
  GPIO_InitStruct.Pull = GPIO_NOPULL;
  GPIO_InitStruct.Speed = GPIO_SPEED_FREQ_VERY_HIGH;
  GPIO_InitStruct.Alternate = GPIO_AF8_UART4;
  HAL_GPIO_Init(GPIOA, &GPIO_InitStruct);

  /*Configure GPIO pins : ARD_D10_Pin Buzzer_Pin SPBTLE_RF_RST_Pin ARD_D9_Pin */
  GPIO_InitStruct.Pin = ARD_D10_Pin|Buzzer_Pin|SPBTLE_RF_RST_Pin|ARD_D9_Pin;
  GPIO_InitStruct.Mode = GPIO_MODE_OUTPUT_PP;
  GPIO_InitStruct.Pull = GPIO_NOPULL;
  GPIO_InitStruct.Speed = GPIO_SPEED_FREQ_LOW;
  HAL_GPIO_Init(GPIOA, &GPIO_InitStruct);

  /*Configure GPIO pins : ARD_D13_Pin ARD_D12_Pin ARD_D11_Pin */
  GPIO_InitStruct.Pin = ARD_D13_Pin|ARD_D12_Pin|ARD_D11_Pin;
  GPIO_InitStruct.Mode = GPIO_MODE_AF_PP;
  GPIO_InitStruct.Pull = GPIO_NOPULL;
  GPIO_InitStruct.Speed = GPIO_SPEED_FREQ_VERY_HIGH;
  GPIO_InitStruct.Alternate = GPIO_AF5_SPI1;
  HAL_GPIO_Init(GPIOA, &GPIO_InitStruct);

  /*Configure GPIO pin : ARD_D3_Pin */
  GPIO_InitStruct.Pin = ARD_D3_Pin;
  GPIO_InitStruct.Mode = GPIO_MODE_IT_RISING;
  GPIO_InitStruct.Pull = GPIO_NOPULL;
  HAL_GPIO_Init(ARD_D3_GPIO_Port, &GPIO_InitStruct);

  /*Configure GPIO pin : ARD_D6_Pin */
  GPIO_InitStruct.Pin = ARD_D6_Pin;
  GPIO_InitStruct.Mode = GPIO_MODE_ANALOG_ADC_CONTROL;
  GPIO_InitStruct.Pull = GPIO_NOPULL;
  HAL_GPIO_Init(ARD_D6_GPIO_Port, &GPIO_InitStruct);

  /*Configure GPIO pins : ARD_D8_Pin ISM43362_BOOT0_Pin ISM43362_WAKEUP_Pin LED2_Pin
                           SPSGRF_915_SDN_Pin ARD_D5_Pin SPSGRF_915_SPI3_CSN_Pin */
  GPIO_InitStruct.Pin = ARD_D8_Pin|ISM43362_BOOT0_Pin|ISM43362_WAKEUP_Pin|LED2_Pin
                          |SPSGRF_915_SDN_Pin|ARD_D5_Pin|SPSGRF_915_SPI3_CSN_Pin;
  GPIO_InitStruct.Mode = GPIO_MODE_OUTPUT_PP;
  GPIO_InitStruct.Pull = GPIO_NOPULL;
  GPIO_InitStruct.Speed = GPIO_SPEED_FREQ_LOW;
  HAL_GPIO_Init(GPIOB, &GPIO_InitStruct);

  /*Configure GPIO pins : LPS22HB_INT_DRDY_EXTI0_Pin LSM6DSL_INT1_EXTI11_Pin ARD_D2_Pin HTS221_DRDY_EXTI15_Pin
                           PMOD_IRQ_EXTI12_Pin */
  GPIO_InitStruct.Pin = LPS22HB_INT_DRDY_EXTI0_Pin|LSM6DSL_INT1_EXTI11_Pin|ARD_D2_Pin|HTS221_DRDY_EXTI15_Pin
                          |PMOD_IRQ_EXTI12_Pin;
  GPIO_InitStruct.Mode = GPIO_MODE_IT_RISING;
  GPIO_InitStruct.Pull = GPIO_NOPULL;
  HAL_GPIO_Init(GPIOD, &GPIO_InitStruct);

  /*Configure GPIO pins : USB_OTG_FS_PWR_EN_Pin SPBTLE_RF_SPI3_CSN_Pin PMOD_RESET_Pin STSAFE_A100_RESET_Pin */
  GPIO_InitStruct.Pin = USB_OTG_FS_PWR_EN_Pin|SPBTLE_RF_SPI3_CSN_Pin|PMOD_RESET_Pin|STSAFE_A100_RESET_Pin;
  GPIO_InitStruct.Mode = GPIO_MODE_OUTPUT_PP;
  GPIO_InitStruct.Pull = GPIO_NOPULL;
  GPIO_InitStruct.Speed = GPIO_SPEED_FREQ_LOW;
  HAL_GPIO_Init(GPIOD, &GPIO_InitStruct);

  /*Configure GPIO pins : VL53L0X_GPIO1_EXTI7_Pin LSM3MDL_DRDY_EXTI8_Pin */
  GPIO_InitStruct.Pin = VL53L0X_GPIO1_EXTI7_Pin|LSM3MDL_DRDY_EXTI8_Pin;
  GPIO_InitStruct.Mode = GPIO_MODE_IT_RISING;
  GPIO_InitStruct.Pull = GPIO_NOPULL;
  HAL_GPIO_Init(GPIOC, &GPIO_InitStruct);

  /*Configure GPIO pin : PMOD_SPI2_SCK_Pin */
  GPIO_InitStruct.Pin = PMOD_SPI2_SCK_Pin;
  GPIO_InitStruct.Mode = GPIO_MODE_AF_PP;
  GPIO_InitStruct.Pull = GPIO_NOPULL;
  GPIO_InitStruct.Speed = GPIO_SPEED_FREQ_VERY_HIGH;
  GPIO_InitStruct.Alternate = GPIO_AF5_SPI2;
  HAL_GPIO_Init(PMOD_SPI2_SCK_GPIO_Port, &GPIO_InitStruct);

  /*Configure GPIO pins : PMOD_UART2_CTS_Pin PMOD_UART2_RTS_Pin PMOD_UART2_TX_Pin PMOD_UART2_RX_Pin */
  GPIO_InitStruct.Pin = PMOD_UART2_CTS_Pin|PMOD_UART2_RTS_Pin|PMOD_UART2_TX_Pin|PMOD_UART2_RX_Pin;
  GPIO_InitStruct.Mode = GPIO_MODE_AF_PP;
  GPIO_InitStruct.Pull = GPIO_NOPULL;
  GPIO_InitStruct.Speed = GPIO_SPEED_FREQ_VERY_HIGH;
  GPIO_InitStruct.Alternate = GPIO_AF7_USART2;
  HAL_GPIO_Init(GPIOD, &GPIO_InitStruct);

  /*Configure GPIO pins : ARD_D15_Pin ARD_D14_Pin */
  GPIO_InitStruct.Pin = ARD_D15_Pin|ARD_D14_Pin;
  GPIO_InitStruct.Mode = GPIO_MODE_AF_OD;
  GPIO_InitStruct.Pull = GPIO_PULLUP;
  GPIO_InitStruct.Speed = GPIO_SPEED_FREQ_VERY_HIGH;
  GPIO_InitStruct.Alternate = GPIO_AF4_I2C1;
  HAL_GPIO_Init(GPIOB, &GPIO_InitStruct);

  /* EXTI interrupt init*/
  HAL_NVIC_SetPriority(EXTI9_5_IRQn, 5, 0);
  HAL_NVIC_EnableIRQ(EXTI9_5_IRQn);

  HAL_NVIC_SetPriority(EXTI15_10_IRQn, 5, 0);
  HAL_NVIC_EnableIRQ(EXTI15_10_IRQn);

}

/* USER CODE BEGIN 4 */

//This method return the emergency_code value reading it in critical section
int readEmergencyCode(){
	int r;
	osMutexWait(myMutexEmergencyHandle, osWaitForever);
	r = emergency_code;
	osMutexRelease(myMutexEmergencyHandle);
	return r;
}

//This method return the temp_value reading it in critical section
float readTemperature(){
	float r;
	osMutexWait(myMutex_tempHandle, osWaitForever);
	r = temp_value;
	osMutexRelease(myMutex_tempHandle);
	return r;
}

//This method return the hum_value reading it in critical section
float readHumidity(){
	float r;
	osMutexWait(myMutex_humHandle, osWaitForever);
	r = hum_value;
	osMutexRelease(myMutex_humHandle);
	return r;
}

/* USER CODE END 4 */

void StartTemp_monitor(void const * argument)
{
  /* USER CODE BEGIN 5 */
	float temp_try = 0;
	/* Infinite loop */
	for(;;)
	{
		//Read the temperature from the sensor and assign its value only of its good
		temp_try = BSP_TSENSOR_ReadTemp();
		osMutexWait(myMutex_tempHandle, osWaitForever);
		if(temp_try >1 && temp_try < 50){
			temp_value = temp_try;
		}
		osMutexRelease(myMutex_tempHandle);
		osDelay(500);
	}
  /* USER CODE END 5 */
}

void StartHum_monitor(void const * argument)
{
  /* USER CODE BEGIN StartHum_monitor */
	float hum_try = 0;
	/* Infinite loop */
	for(;;)
	{
		//Read the humidity from the sensor and assign its value only of its good
		hum_try = BSP_HSENSOR_ReadHumidity();
		osMutexWait(myMutex_humHandle, osWaitForever);
		if(hum_try >10 && hum_try < 90){
			hum_value = hum_try;
		}
		osMutexRelease(myMutex_humHandle);
		osDelay(500);
	}
  /* USER CODE END StartHum_monitor */
}

void StartLCD_temp(void const * argument)
{
  /* USER CODE BEGIN StartLCD_temp */
	char str_tmpT[100] = ""; // Formatted message to display the temperature value
	float temp_local = 0; //Local variable used to read and store the humidity value
	/* Infinite loop */
	for(;;)
	{
		temp_local = readTemperature();

		//Show the temperature value on the LCD
		osMutexWait(myMutex_LCDHandle, osWaitForever);
		clear();
		int tmpIntT1 = temp_local;
		float tmpFracT = temp_local - tmpIntT1;
		int tmpIntT2 = trunc(tmpFracT * 100);
		snprintf(str_tmpT,100,"%d.%02d Celsius", tmpIntT1, tmpIntT2);
		setCursor(0, 0);
		print("TEMPERATURE"); //Print this
		setCursor(0, 1); //At second row first column
		print(str_tmpT); //Print this
		osDelay(2500);
		osMutexRelease(myMutex_LCDHandle);
		osDelay(1000);
	}
  /* USER CODE END StartLCD_temp */
}

void StartLCD_hum(void const * argument)
{
  /* USER CODE BEGIN StartLCD_hum */
	char str_tmpH[100] = ""; // Formatted message to display the humidity value
	float hum_local = 0; //Local variable used to read and store the humidity value

	/* Infinite loop */
	for(;;)
	{

		hum_local = readHumidity();

		//Show the hum value on the LCD
		osMutexWait(myMutex_LCDHandle, osWaitForever);
		clear();
		int tmpIntH1 = hum_local;
		float tmpFracH = hum_local - tmpIntH1;
		int tmpIntH2 = trunc(tmpFracH * 100);
		snprintf(str_tmpH,100,"%d.%02d RH", tmpIntH1, tmpIntH2);
		setCursor(0, 0);
		print("UMIDITY"); //Print this
		setCursor(0, 1); //At second row first column
		print(str_tmpH); //Print this
		osDelay(2500);
		osMutexRelease(myMutex_LCDHandle);
		osDelay(1000);
	}
  /* USER CODE END StartLCD_hum */
}

void StartServo_manager(void const * argument)
{
  /* USER CODE BEGIN StartServo_manager */

	TIM2->PSC = 71;
	TIM2->ARR = 20000;
	TIM2->CCMR1 |= TIM_CCMR1_OC1M_1 | TIM_CCMR1_OC1M_2 | TIM_CCMR1_OC1PE;
	TIM2->BDTR |= TIM_BDTR_MOE;
	TIM2->CCER |= TIM_CCER_CC1E;
	TIM2->CR1 |= TIM_CR1_ARPE;
	TIM2->EGR |= TIM_EGR_UG;
	TIM2->CR1 |= TIM_CR1_CEN;

	//Initialize the servo position
	TIM2->CCR4 = 5.556*0 + 1000;
	HAL_Delay(200);

	bool servo_actuated = false;
	int emergency_local = NO_ALL;

	/* Infinite loop */
	for(;;)
	{
		emergency_local = readEmergencyCode();

		//Moving the servo only when needed and giving the command only once throught a boolean
		if((emergency_local != NO_ALL) && (servo_actuated == false)){
			servo_actuated = true;
			TIM2->CCR4 = 5.556*300 + 1000;
			HAL_Delay(500);
		} else if ((emergency_local == NO_ALL) && (servo_actuated)){
			servo_actuated = false;
			TIM2->CCR4 = 5.556*0 + 1000;
			HAL_Delay(500);
		}
		osDelay(400);
	}
  /* USER CODE END StartServo_manager */
}

void StartProblemDetector(void const * argument)
{
  /* USER CODE BEGIN StartProblemDetector */
	float temp_local = 0;
	float hum_local = 0;
	int emergency_local = NO_ALL;
	/* Infinite loop */
	for(;;)
	{

#ifdef NORMAL_MODE

		//if button is pressed during an alarm i stop them for a given time
		if(stop_allarmi == true){
			stop_allarmi = false;
			osDelay(20000);
		}

		temp_local = readTemperature();

		hum_local = readHumidity();

		//If i have a write an alarm code to a local variable
		if((temp_local > TEMP_HIGH_TRESH) && (hum_local > HUM_HIGH_TRESH)){
			emergency_local = ALL_TOT;
		} else if ((temp_local > TEMP_HIGH_TRESH) && (hum_local < HUM_LOW_TRESH)){
			emergency_local = ALL_TEMP;
		} else if ((hum_local > HUM_HIGH_TRESH) && (temp_local < TEMP_LOW_TRESH)){
			emergency_local = ALL_HUM;
		} else if ((hum_local < HUM_LOW_TRESH) && (temp_local < TEMP_LOW_TRESH)) {
			emergency_local = NO_ALL;
		}

		//Assigning the local variable to the global variable
		osMutexWait(myMutexEmergencyHandle, osWaitForever);
		emergency_code = emergency_local;
		osMutexRelease(myMutexEmergencyHandle);

		osDelay(500);
#endif

#ifdef DEMO_MODE

				//This demo mode perform cyclically every emergency
				osDelay(20000);
				osMutexWait(myMutexEmergencyHandle, osWaitForever);
				emergency_code = ALL_TEMP;
				osMutexRelease(myMutexEmergencyHandle);
				osDelay(20000);
				osMutexWait(myMutexEmergencyHandle, osWaitForever);
				emergency_code = NO_ALL;
				osMutexRelease(myMutexEmergencyHandle);
				osDelay(20000);
				osMutexWait(myMutexEmergencyHandle, osWaitForever);
				emergency_code = ALL_HUM;
				osMutexRelease(myMutexEmergencyHandle);
				osDelay(20000);
				osMutexWait(myMutexEmergencyHandle, osWaitForever);
				emergency_code = NO_ALL;
				osMutexRelease(myMutexEmergencyHandle);
				osDelay(20000);
				osMutexWait(myMutexEmergencyHandle, osWaitForever);
				emergency_code = ALL_TOT;
				osMutexRelease(myMutexEmergencyHandle);
				osDelay(20000);
				osMutexWait(myMutexEmergencyHandle, osWaitForever);
				emergency_code = NO_ALL;
				osMutexRelease(myMutexEmergencyHandle);

#endif

	}
  /* USER CODE END StartProblemDetector */
}

void StartBuzzer_manager(void const * argument)
{
  /* USER CODE BEGIN StartBuzzer_manager */
	int emergency_local = NO_ALL;
	/* Infinite loop */
	for(;;)
	{
		emergency_local = readEmergencyCode();

		if(emergency_local != NO_ALL){
			//Resume the task in the ready queue if the conditions are satisfied
			osThreadResume(Buzzer_soundHandle);
		} else {
			//Suspend the task, being not a accumulative call we can call it
			// how many times we want still requiring only a Resume call to
			//  ready the suspended task
			osThreadSuspend(Buzzer_soundHandle);

			//Shut off the buzzer to avoid that it remains on becouse the task was suspended during execution
			HAL_GPIO_WritePin(Buzzer_GPIO_Port, Buzzer_Pin, GPIO_PIN_RESET);
		}
		osDelay(500);

	}
  /* USER CODE END StartBuzzer_manager */
}

void StartLCD_TempProblem(void const * argument)
{
  /* USER CODE BEGIN StartLCD_TempProblem */
	int emergency_local = NO_ALL;
	/* Infinite loop */
	for(;;)
	{
		emergency_local = readEmergencyCode();

		//Writing an emergency message in the LCD if conditions are satisfied
		if(emergency_local == ALL_TEMP){
			osMutexWait(myMutex_LCDHandle, osWaitForever);
			clear();
			setCursor(0, 0);
			print("EMERGENCY");
			osDelay(2000);
			clear();
			setCursor(0, 0);
			print("TEMPERATURE"); //Print this
			setCursor(0, 1); //At secound row first column
			print("OUT OF RANGE"); //Print this
			osDelay(2000);
			osMutexRelease(myMutex_LCDHandle);
			osDelay(5000);
		}
		osDelay(1000);
	}
  /* USER CODE END StartLCD_TempProblem */
}

void StartLCD_HumProblem(void const * argument)
{
  /* USER CODE BEGIN StartLCD_HumProblem */
	int emergency_local = NO_ALL;
	/* Infinite loop */
	for(;;)
	{
		emergency_local = readEmergencyCode();

		//Writing an emergency message in the LCD if conditions are satisfied
		if(emergency_local == ALL_HUM){
			osMutexWait(myMutex_LCDHandle, osWaitForever);
			clear();
			setCursor(0, 0);
			print("EMERGENCY");
			osDelay(2000);
			clear();
			setCursor(0, 0);
			print("HUMIDITY VALUE"); //Print this
			setCursor(0, 1); //At secound row first column
			print("OUT OF RANGE"); //Print this
			osDelay(2000);
			osMutexRelease(myMutex_LCDHandle);
			osDelay(5000);
		}
		osDelay(1000);
	}
  /* USER CODE END StartLCD_HumProblem */
}

void StartLED_manager(void const * argument)
{
  /* USER CODE BEGIN StartLED_manager */
	bool timers_started = false;
	//Questa flag serve a vedere se i timer sono attivi così
	// da agggiungere una consizione all'else if in modo da non entrare a stoppare i timer se
	// non sono stati effettivamente avviati ed allo stessso tempo di avviarli in continuazione
	int emergency_local = NO_ALL;
	/* Infinite loop */
	for(;;)
	{
		emergency_local = readEmergencyCode();

		//Depending on the conditions the timers controlling the led are started or stopped only once using a boolean variable
		if((timers_started == false) && (emergency_local != NO_ALL)){
			timers_started = true;
			osTimerStart(myTimerLed1Handle, 500);
			osTimerStart(myTimerLed2Handle, 300);
		} else if ((timers_started) && (emergency_local == NO_ALL)){
			timers_started = false;
			osTimerStop(myTimerLed1Handle);
			osTimerStop(myTimerLed2Handle);
		}
		osDelay(500);

	}
  /* USER CODE END StartLED_manager */
}

void StartButton_manager(void const * argument)
{
  /* USER CODE BEGIN StartButton_manager */
	int emergency_local = NO_ALL;
	/* Infinite loop */
	for(;;)
	{
		emergency_local = readEmergencyCode();

		//If the button is pressed during an emergency all the alarms are temporary stopped, else it grant access
		if((HAL_GPIO_ReadPin(USER_BUTTON_GPIO_PORT, USER_BUTTON_PIN) == GPIO_PIN_RESET) && (emergency_local != NO_ALL)){
			osMutexWait(myMutexEmergencyHandle, osWaitForever);
			emergency_code = NO_ALL;
			stop_allarmi = true;
			osMutexRelease(myMutexEmergencyHandle);

			osMutexWait(myMutex_LCDHandle, osWaitForever);
			clear();
			setCursor(0, 0);
			print("RESET"); //Print this
			setCursor(0, 1); //At secound row first column
			print("ALLARMI"); //Print this
			osDelay(2000);
			osMutexRelease(myMutex_LCDHandle);

		} else if ((HAL_GPIO_ReadPin(USER_BUTTON_GPIO_PORT, USER_BUTTON_PIN) == GPIO_PIN_RESET) && (emergency_local == NO_ALL)){
			osMutexWait(myMutex_LCDHandle, osWaitForever);
			clear();
			setCursor(0, 0);
			print("ACCESSO"); //Print this
			setCursor(0, 1); //At secound row first column
			print("CONSENTITO"); //Print this
			osDelay(2500);
			osMutexRelease(myMutex_LCDHandle);
		}

		osDelay(500);
	}
  /* USER CODE END StartButton_manager */
}

void StartLCD_TotAllarm(void const * argument)
{
  /* USER CODE BEGIN StartLCD_TotAllarm */
	int emergency_local = NO_ALL;
	/* Infinite loop */
	for(;;)
	{
		emergency_local = readEmergencyCode();

		//Writing an emergency message in the LCD if conditions are satisfied
		if(emergency_local == ALL_TOT){
			osMutexWait(myMutex_LCDHandle, osWaitForever);
			clear();
			setCursor(0, 0);
			print("EMERGENCY");
			osDelay(2000);
			clear();
			setCursor(0, 0);
			print("TEMP e HUM"); //Print this
			setCursor(0, 1); //At secound row first column
			print("OUT OF RANGE"); //Print this
			osDelay(2000);
			osMutexRelease(myMutex_LCDHandle);
			osDelay(5000);
		}
		osDelay(1000);
	}
  /* USER CODE END StartLCD_TotAllarm */
}

void StartBuzzer_sound(void const * argument)
{
  /* USER CODE BEGIN StartBuzzer_sound */
	/* Infinite loop */
	for(;;)
	{
		//This task perform the buzzer sound and its status (ready or suspended) it's controller by the task Buzzer_manager
		HAL_GPIO_WritePin(Buzzer_GPIO_Port, Buzzer_Pin, GPIO_PIN_SET);
		osDelay(1000);
		HAL_GPIO_WritePin(Buzzer_GPIO_Port, Buzzer_Pin, GPIO_PIN_RESET);
		osDelay(1000);
	}
  /* USER CODE END StartBuzzer_sound */
}

/* CallbackLed1 function */
void CallbackLed1(void const * argument)
{
  /* USER CODE BEGIN CallbackLed1 */
	HAL_GPIO_TogglePin (LED2_GPIO_PORT, LED2_PIN);

  /* USER CODE END CallbackLed1 */
}

/* CallbackLed2 function */
void CallbackLed2(void const * argument)
{
  /* USER CODE BEGIN CallbackLed2 */
	HAL_GPIO_TogglePin (LED3_WIFI__LED4_BLE_GPIO_Port, LED3_WIFI__LED4_BLE_Pin);

  /* USER CODE END CallbackLed2 */
}

 /**
  * @brief  Period elapsed callback in non blocking mode
  * @note   This function is called  when TIM17 interrupt took place, inside
  * HAL_TIM_IRQHandler(). It makes a direct call to HAL_IncTick() to increment
  * a global variable "uwTick" used as application time base.
  * @param  htim : TIM handle
  * @retval None
  */
void HAL_TIM_PeriodElapsedCallback(TIM_HandleTypeDef *htim)
{
  if (htim->Instance == TIM17) {
    HAL_IncTick();
  }
}

void Error_Handler(void)
{
	__disable_irq();
	while (1)
	{
	}
}

/************************ (C) COPYRIGHT STMicroelectronics *****END OF FILE****/
-----------------
